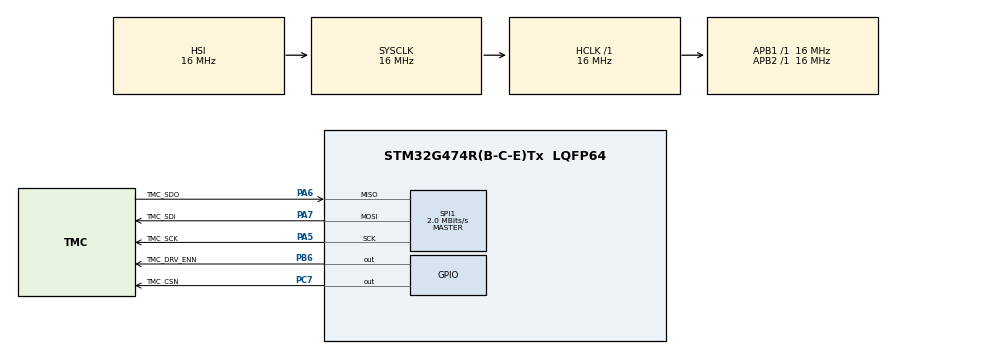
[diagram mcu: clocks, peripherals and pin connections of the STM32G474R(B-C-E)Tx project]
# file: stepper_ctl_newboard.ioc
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Mcu.Family=STM32G4
Mcu.Name=STM32G474R(B-C-E)Tx
Mcu.Package=LQFP64
NVIC.PriorityGroup=NVIC_PRIORITYGROUP_4
PA5.GPIO_Label=TMC_SCK
PA5.Mode=Full_Duplex_Master
PA5.Signal=SPI1_SCK
PA6.GPIO_Label=TMC_SDO
PA6.Mode=Full_Duplex_Master
PA6.Signal=SPI1_MISO
PA7.GPIO_Label=TMC_SDI
PA7.Mode=Full_Duplex_Master
PA7.Signal=SPI1_MOSI
PB6.GPIO_Label=TMC_DRV_ENN
PB6.PinState=GPIO_PIN_SET
PB6.Signal=GPIO_Output
PC7.GPIO_Label=TMC_CSN
PC7.PinState=GPIO_PIN_SET
PC7.Signal=GPIO_Output
ProjectManager.HeapSize=0x200
ProjectManager.StackSize=0x400
ProjectManager.TargetToolchain=Makefile
RCC.AHBFreq_Value=16000000
RCC.APB1Freq_Value=16000000
RCC.APB1TimFreq_Value=16000000
RCC.APB2Freq_Value=16000000
RCC.APB2TimFreq_Value=16000000
RCC.CortexFreq_Value=16000000
RCC.EXTERNAL_CLOCK_VALUE=12288000
RCC.HCLKFreq_Value=16000000
RCC.HSE_VALUE=8000000
RCC.HSI48_VALUE=48000000
RCC.HSI_VALUE=16000000
RCC.LSE_VALUE=32768
RCC.SYSCLKFreq_VALUE=16000000
RCC.USBFreq_Value=64000000
RCC.VCOOutputFreq_Value=128000000
SPI1.BaudRatePrescaler=SPI_BAUDRATEPRESCALER_8
SPI1.CLKPhase=SPI_PHASE_2EDGE
SPI1.CLKPolarity=SPI_POLARITY_HIGH
SPI1.CalculateBaudRate=2.0 MBits/s
SPI1.DataSize=SPI_DATASIZE_8BIT
SPI1.Direction=SPI_DIRECTION_2LINES
SPI1.Mode=SPI_MODE_MASTER
SPI1.NSSPMode=SPI_NSS_PULSE_DISABLE
SPI1.VirtualType=VM_MASTER
VP_SYS_VS_DBSignals.Mode=DisableDeadBatterySignals
board=custom

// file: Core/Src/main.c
/* USER CODE BEGIN Header */
/**
  ******************************************************************************
  * @file           : main.c
  * @brief          : Main program body
  ******************************************************************************
  * @attention
  *
  * Copyright (c) 2026 STMicroelectronics.
  * All rights reserved.
  *
  * This software is licensed under terms that can be found in the LICENSE file
  * in the root directory of this software component.
  * If no LICENSE file comes with this software, it is provided AS-IS.
  *
  ******************************************************************************
  */
/* USER CODE END Header */
#include "main.h"

/* USER CODE BEGIN Includes */
#include "tmc5160.h"
#include <stdio.h>
/* USER CODE END Includes */

SPI_HandleTypeDef hspi1;

/* USER CODE BEGIN PV */
UART_HandleTypeDef huart2;
/* USER CODE END PV */

void SystemClock_Config(void);
static void MX_GPIO_Init(void);
static void MX_SPI1_Init(void);
/* USER CODE BEGIN PFP */
static void DEBUG_UART_Init(void);
static void log_tmc_state(const char *tag);
static bool wait_for_position(uint32_t timeout_ms);
/* USER CODE END PFP */

/* USER CODE BEGIN 0 */
/* Debug UART on USART2 PA2 (TX) / PA3 (RX), 115200 8N1.
 * Kept out of the .ioc on purpose: CubeMX doesn't know about it, so it lives
 * entirely in USER CODE sections and survives regeneration. */
static void DEBUG_UART_Init(void)
{
  GPIO_InitTypeDef GPIO_InitStruct = {0};

  __HAL_RCC_USART2_CLK_ENABLE();
  __HAL_RCC_GPIOA_CLK_ENABLE();

  GPIO_InitStruct.Pin = GPIO_PIN_2 | GPIO_PIN_3;
  GPIO_InitStruct.Mode = GPIO_MODE_AF_PP;
  GPIO_InitStruct.Pull = GPIO_NOPULL;
  GPIO_InitStruct.Speed = GPIO_SPEED_FREQ_LOW;
  GPIO_InitStruct.Alternate = GPIO_AF7_USART2;
  HAL_GPIO_Init(GPIOA, &GPIO_InitStruct);

  huart2.Instance = USART2;
  huart2.Init.BaudRate = 115200;
  huart2.Init.WordLength = UART_WORDLENGTH_8B;
  huart2.Init.StopBits = UART_STOPBITS_1;
  huart2.Init.Parity = UART_PARITY_NONE;
  huart2.Init.Mode = UART_MODE_TX_RX;
  huart2.Init.HwFlowCtl = UART_HWCONTROL_NONE;
  huart2.Init.OverSampling = UART_OVERSAMPLING_16;
  huart2.Init.OneBitSampling = UART_ONE_BIT_SAMPLE_DISABLE;
  huart2.Init.ClockPrescaler = UART_PRESCALER_DIV1;
  huart2.AdvancedInit.AdvFeatureInit = UART_ADVFEATURE_NO_INIT;
  if (HAL_UART_Init(&huart2) != HAL_OK)
  {
    Error_Handler();
  }

  /* Unbuffered stdout: newlib would otherwise malloc a 1 KiB stdio buffer,
   * which doesn't fit the 0x200 heap. */
  setvbuf(stdout, NULL, _IONBF, 0);
}

/* printf() lands here via _write() in syscalls.c */
int __io_putchar(int ch)
{
  uint8_t c = (uint8_t)ch;
  HAL_UART_Transmit(&huart2, &c, 1, HAL_MAX_DELAY);
  return ch;
}

static void log_tmc_state(const char *tag)
{
  uint32_t gstat = tmc5160_read(TMC5160_REG_GSTAT);
  uint32_t ramp  = tmc5160_read(TMC5160_REG_RAMP_STAT);
  int32_t  xact  = (int32_t)tmc5160_read(TMC5160_REG_XACTUAL);
  /* VACTUAL is a 24-bit signed field */
  int32_t  vact  = ((int32_t)(tmc5160_read(TMC5160_REG_VACTUAL) << 8)) >> 8;
  uint32_t drv   = tmc5160_read(TMC5160_REG_DRV_STATUS);

  printf("[%s] GSTAT=0x%lX RAMP_STAT=0x%03lX XACTUAL=%ld VACTUAL=%ld DRV_STATUS=0x%08lX\r\n",
         tag, gstat, ramp, (long)xact, (long)vact, drv);

  if (gstat & 0x1u)   printf("  ! GSTAT.reset: chip reset since last check (power/brown-out?)\r\n");
  if (gstat & 0x2u)   printf("  ! GSTAT.drv_err: driver shut down, see DRV_STATUS\r\n");
  if (gstat & 0x4u)   printf("  ! GSTAT.uv_cp: charge pump undervoltage - check VS supply\r\n");
  if (drv & (1u << 25)) printf("  ! DRV_STATUS.ot: overtemperature shutdown\r\n");
  else if (drv & (1u << 26)) printf("  ! DRV_STATUS.otpw: overtemperature warning\r\n");
  if (drv & (1u << 27)) printf("  ! DRV_STATUS.s2ga: short to GND, phase A\r\n");
  if (drv & (1u << 28)) printf("  ! DRV_STATUS.s2gb: short to GND, phase B\r\n");
  if (drv & (1u << 12)) printf("  ! DRV_STATUS.s2vsa: short to supply, phase A\r\n");
  if (drv & (1u << 13)) printf("  ! DRV_STATUS.s2vsb: short to supply, phase B\r\n");
  /* open-load flags are only meaningful while the motor is moving slowly */
  if (drv & (1u << 29)) printf("  ! DRV_STATUS.ola: open load, phase A (motor wire?)\r\n");
  if (drv & (1u << 30)) printf("  ! DRV_STATUS.olb: open load, phase B (motor wire?)\r\n");
}

static bool wait_for_position(uint32_t timeout_ms)
{
  uint32_t start = HAL_GetTick();
  uint32_t last_log = start;

  while (!tmc5160_position_reached())
  {
    uint32_t now = HAL_GetTick();
    if ((now - start) >= timeout_ms)
    {
      printf("TIMEOUT: position not reached after %lu ms\r\n", (unsigned long)timeout_ms);
      log_tmc_state("timeout");
      return false;
    }
    if ((now - last_log) >= 500u)
    {
      log_tmc_state("moving");
      last_log = now;
    }
    HAL_Delay(10);
  }
  return true;
}
/* USER CODE END 0 */

int main(void)
{

  /* MCU Configuration--------------------------------------------------------*/

  /* Reset of all peripherals, Initializes the Flash interface and the Systick. */
  HAL_Init();

  /* Configure the system clock */
  SystemClock_Config();

  /* Initialize all configured peripherals */
  MX_GPIO_Init();
  MX_SPI1_Init();
  /* USER CODE BEGIN 2 */
  DEBUG_UART_Init();
  printf("\r\n=== stepper-ctl-newboard boot ===\r\n");

  /* Give the TMC5160 time to come out of power-on reset */
  HAL_Delay(10);

  uint32_t ioin = tmc5160_read(TMC5160_REG_IOIN);
  printf("IOIN=0x%08lX version=0x%02lX (expect 0x30)\r\n",
         ioin, (ioin >> 24) & 0xFFu);

  if (!tmc5160_init())
  {
    /* No answer on SPI: check driver supply (VS), wiring and CSN */
    printf("TMC5160 init FAILED: no/bad answer on SPI\r\n");
    if (ioin == 0x00000000u)
    {
      printf("  MISO stuck low: check VS supply, SDO wiring, CSN\r\n");
    }
    else if (ioin == 0xFFFFFFFFu)
    {
      printf("  MISO stuck high: check SDO wiring, CSN\r\n");
    }
    Error_Handler();
  }
  printf("TMC5160 init OK\r\n");

  /* Read back a config register to prove the MOSI/write path works too
   * (IOIN only proves we can read) */
  printf("CHOPCONF readback=0x%08lX (wrote 0x000100C3)\r\n",
         tmc5160_read(TMC5160_REG_CHOPCONF));
  log_tmc_state("after init");

  tmc5160_set_driver_enabled(true);
  printf("driver enabled (DRV_ENN low)\r\n");
  /* USER CODE END 2 */

  /* Infinite loop */
  while (1)
  {

    /* USER CODE BEGIN 3 */
    /* Demo: sweep 5 revolutions forward, pause, then back to the start.
     * The TMC5160's ramp generator does all the motion; we just set
     * targets and poll until each move completes. */
    printf("\r\nmove to XTARGET=%ld (+5 rev)\r\n",
           (long)(5 * TMC5160_USTEPS_PER_REV));
    tmc5160_move_to(5 * TMC5160_USTEPS_PER_REV);
    if (wait_for_position(15000u))
    {
      printf("position reached\r\n");
    }
    HAL_Delay(500);

    printf("move to XTARGET=0\r\n");
    tmc5160_move_to(0);
    if (wait_for_position(15000u))
    {
      printf("position reached\r\n");
    }
    HAL_Delay(500);
  }
  /* USER CODE END 3 */
}

void SystemClock_Config(void)
{
  RCC_OscInitTypeDef RCC_OscInitStruct = {0};
  RCC_ClkInitTypeDef RCC_ClkInitStruct = {0};

  /** Configure the main internal regulator output voltage
  */
  HAL_PWREx_ControlVoltageScaling(PWR_REGULATOR_VOLTAGE_SCALE1);

  /** Initializes the RCC Oscillators according to the specified parameters
  * in the RCC_OscInitTypeDef structure.
  */
  RCC_OscInitStruct.OscillatorType = RCC_OSCILLATORTYPE_HSI;
  RCC_OscInitStruct.HSIState = RCC_HSI_ON;
  RCC_OscInitStruct.HSICalibrationValue = RCC_HSICALIBRATION_DEFAULT;
  RCC_OscInitStruct.PLL.PLLState = RCC_PLL_NONE;
  if (HAL_RCC_OscConfig(&RCC_OscInitStruct) != HAL_OK)
  {
    Error_Handler();
  }

  /** Initializes the CPU, AHB and APB buses clocks
  */
  RCC_ClkInitStruct.ClockType = RCC_CLOCKTYPE_HCLK|RCC_CLOCKTYPE_SYSCLK
                              |RCC_CLOCKTYPE_PCLK1|RCC_CLOCKTYPE_PCLK2;
  RCC_ClkInitStruct.SYSCLKSource = RCC_SYSCLKSOURCE_HSI;
  RCC_ClkInitStruct.AHBCLKDivider = RCC_SYSCLK_DIV1;
  RCC_ClkInitStruct.APB1CLKDivider = RCC_HCLK_DIV1;
  RCC_ClkInitStruct.APB2CLKDivider = RCC_HCLK_DIV1;

  if (HAL_RCC_ClockConfig(&RCC_ClkInitStruct, FLASH_LATENCY_0) != HAL_OK)
  {
    Error_Handler();
  }
}

static void MX_SPI1_Init(void)
{

  /* SPI1 parameter configuration*/
  hspi1.Instance = SPI1;
  hspi1.Init.Mode = SPI_MODE_MASTER;
  hspi1.Init.Direction = SPI_DIRECTION_2LINES;
  hspi1.Init.DataSize = SPI_DATASIZE_8BIT;
  hspi1.Init.CLKPolarity = SPI_POLARITY_HIGH;
  hspi1.Init.CLKPhase = SPI_PHASE_2EDGE;
  hspi1.Init.NSS = SPI_NSS_SOFT;
  hspi1.Init.BaudRatePrescaler = SPI_BAUDRATEPRESCALER_8;
  hspi1.Init.FirstBit = SPI_FIRSTBIT_MSB;
  hspi1.Init.TIMode = SPI_TIMODE_DISABLE;
  hspi1.Init.CRCCalculation = SPI_CRCCALCULATION_DISABLE;
  hspi1.Init.CRCPolynomial = 7;
  hspi1.Init.CRCLength = SPI_CRC_LENGTH_DATASIZE;
  hspi1.Init.NSSPMode = SPI_NSS_PULSE_DISABLE;
  if (HAL_SPI_Init(&hspi1) != HAL_OK)
  {
    Error_Handler();
  }

}

static void MX_GPIO_Init(void)
{
  GPIO_InitTypeDef GPIO_InitStruct = {0};

  /* GPIO Ports Clock Enable */
  __HAL_RCC_GPIOA_CLK_ENABLE();
  __HAL_RCC_GPIOC_CLK_ENABLE();
  __HAL_RCC_GPIOB_CLK_ENABLE();

  /*Configure GPIO pin Output Level */
  HAL_GPIO_WritePin(TMC_CSN_GPIO_Port, TMC_CSN_Pin, GPIO_PIN_SET);

  /*Configure GPIO pin Output Level */
  HAL_GPIO_WritePin(TMC_DRV_ENN_GPIO_Port, TMC_DRV_ENN_Pin, GPIO_PIN_SET);

  /*Configure GPIO pin : TMC_CSN_Pin */
  GPIO_InitStruct.Pin = TMC_CSN_Pin;
  GPIO_InitStruct.Mode = GPIO_MODE_OUTPUT_PP;
  GPIO_InitStruct.Pull = GPIO_NOPULL;
  GPIO_InitStruct.Speed = GPIO_SPEED_FREQ_HIGH;
  HAL_GPIO_Init(TMC_CSN_GPIO_Port, &GPIO_InitStruct);

  /*Configure GPIO pin : TMC_DRV_ENN_Pin */
  GPIO_InitStruct.Pin = TMC_DRV_ENN_Pin;
  GPIO_InitStruct.Mode = GPIO_MODE_OUTPUT_PP;
  GPIO_InitStruct.Pull = GPIO_NOPULL;
  GPIO_InitStruct.Speed = GPIO_SPEED_FREQ_HIGH;
  HAL_GPIO_Init(TMC_DRV_ENN_GPIO_Port, &GPIO_InitStruct);

}

void Error_Handler(void)
{
  /* USER CODE BEGIN Error_Handler_Debug */
  /* User can add his own implementation to report the HAL error return state */
  /* HAL_UART_Transmit is a harmless no-op if the UART isn't up yet */
  printf("FATAL: Error_Handler - halting\r\n");
  __disable_irq();
  while (1)
  {
  }
  /* USER CODE END Error_Handler_Debug */
}
